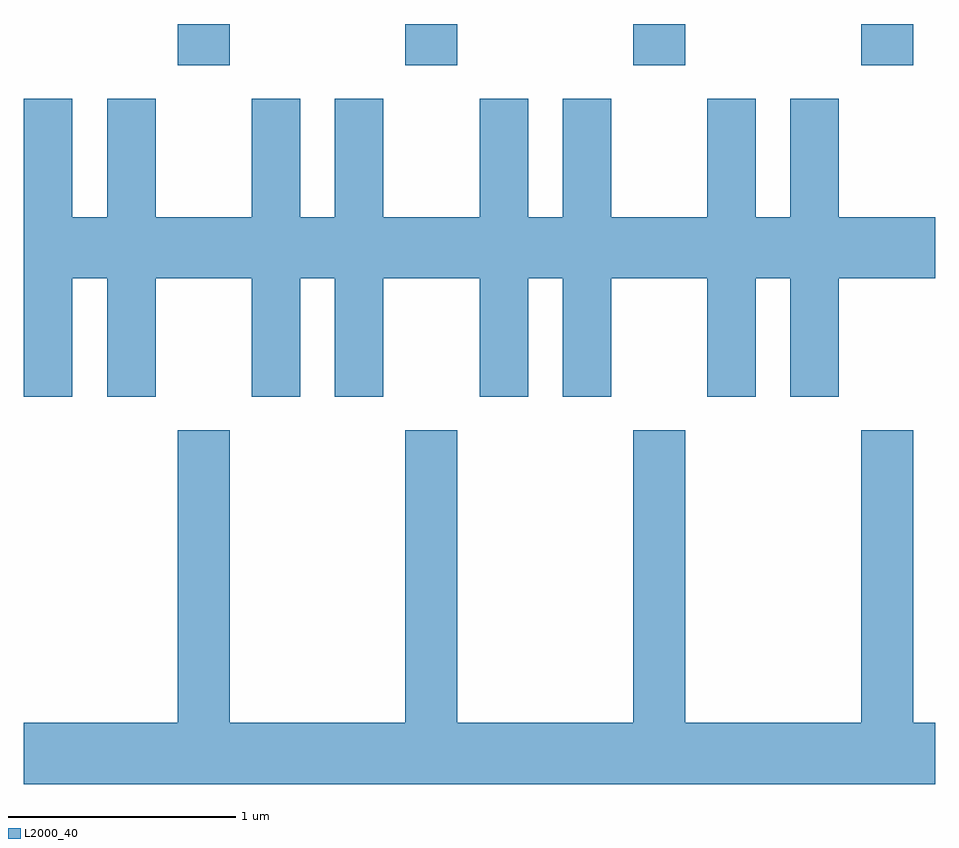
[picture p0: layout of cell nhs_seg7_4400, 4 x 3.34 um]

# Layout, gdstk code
import gdstk
lib = gdstk.Library(unit=1e-6, precision=1e-09)
def R(c, l, rs):  # rectangles x0, y0, x1, y1
    for r in rs: c.add(gdstk.rectangle(r[:2], r[2:], *l))
def A(c, l, x, y, w, h, nx, ny, dx, dy):  # array of equal rectangles
    R(c, l, [(x+i*dx, y+j*dy, x+i*dx+w, y+j*dy+h) for i in range(nx) for j in range(ny)])
def P(c, l, *ps):  # polygons
    for p in ps: c.add(gdstk.Polygon(p, *l))
L2000_40 = (2000, 40)

nhs_seg7_4400 = lib.new_cell('nhs_seg7_4400')
A(nhs_seg7_4400, L2000_40, 320.286, 1784.071, 0.228, 0.181, 4, 1, 1, 0)
P(nhs_seg7_4400, L2000_40, [(319.824,1783.136),(319.976,1783.136),(319.976,1782.616),(320.189,1782.616),(320.189,1783.136),(320.611,1783.136),(320.611,1782.616),(320.824,1782.616),(320.824,1783.136),(320.976,1783.136),(320.976,1782.616),(321.189,1782.616),(321.189,1783.136),(321.611,1783.136),(321.611,1782.616),(321.824,1782.616),(321.824,1783.136),(321.976,1783.136),(321.976,1782.616),(322.189,1782.616),(322.189,1783.136),(322.611,1783.136),(322.611,1782.616),(322.824,1782.616),(322.824,1783.136),(322.976,1783.136),(322.976,1782.616),(323.189,1782.616),(323.189,1783.136),(323.611,1783.136),(323.611,1783.404),(323.189,1783.404),(323.189,1783.924),(322.976,1783.924),(322.976,1783.404),(322.824,1783.404),(322.824,1783.924),(322.611,1783.924),(322.611,1783.404),(322.189,1783.404),(322.189,1783.924),(321.976,1783.924),(321.976,1783.404),(321.824,1783.404),(321.824,1783.924),(321.611,1783.924),(321.611,1783.404),(321.189,1783.404),(321.189,1783.924),(320.976,1783.924),(320.976,1783.404),(320.824,1783.404),(320.824,1783.924),(320.611,1783.924),(320.611,1783.404),(320.189,1783.404),(320.189,1783.924),(319.976,1783.924),(319.976,1783.404),(319.824,1783.404),(319.824,1783.924),(319.611,1783.924),(319.611,1782.616),(319.824,1782.616)],
  [(323.611,1781.184),(323.514,1781.184),(323.514,1782.469),(323.286,1782.469),(323.286,1781.184),(322.514,1781.184),(322.514,1782.469),(322.286,1782.469),(322.286,1781.184),(321.514,1781.184),(321.514,1782.469),(321.286,1782.469),(321.286,1781.184),(320.514,1781.184),(320.514,1782.469),(320.286,1782.469),(320.286,1781.184),(319.611,1781.184),(319.611,1780.916),(323.611,1780.916)])

lib.write_gds('nhs_seg7_4400.gds')
